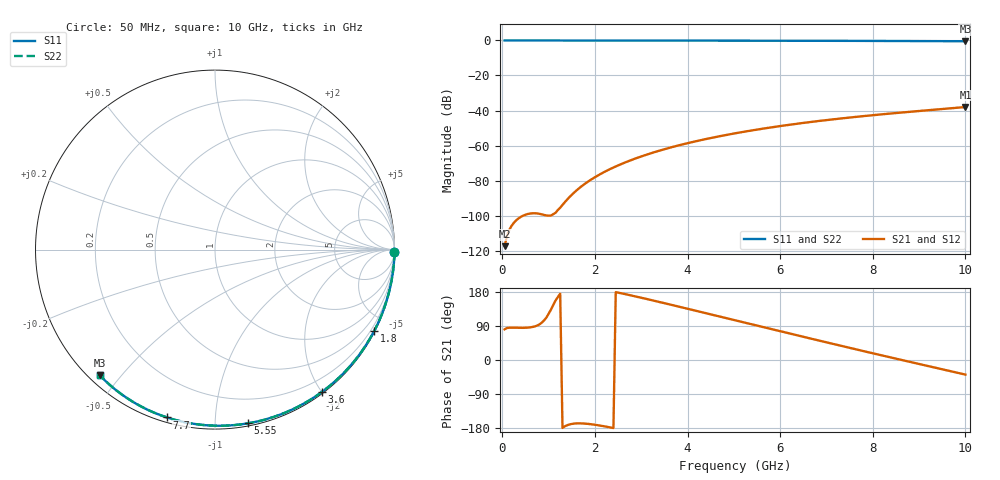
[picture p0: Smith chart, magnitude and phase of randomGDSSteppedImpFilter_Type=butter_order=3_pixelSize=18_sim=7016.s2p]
! freq	dB(S11)	phase(S11)	dB(S12)	phase(S12)
!  dB(S21)	phase(S21)	dB(S22)	phase(S22)
!S-par simulation data
#  GHz  S  DB  R 50
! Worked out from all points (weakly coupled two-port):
!   200 points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, 50 MHz to 10 GHz, reference 50 ohm
!   highest |S21| = -38.02 dB at 10 GHz (marker M1); lowest = -117.5 dB at 50 MHz (marker M2)
!   lowest |S11| = -0.4 dB at 10 GHz (marker M3), VSWR 39.02, Z = 1.53 - j21.9 ohm
!   |S11| at or under -10 dB: nowhere
!   |S22| runs from -0.4 to 0.0 dB; largest |S21 - S12| = 0
!   S11 on the Smith chart (normalised r, x): 50 MHz: open; 1.8 GHz: 0.04, -4.14; 3.6 GHz: 0.02, -2.00; 5.55 GHz: 0.02, -1.21; 7.7 GHz: 0.02, -0.75; 10 GHz: 0.03, -0.44
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0.05  -0.00 -0.8  -117.47 80.8  -117.47 80.8  -0.00 -0.8
0.45  -0.01 -6.9  -100.05 84.9  -100.05 84.9  -0.01 -6.9
0.9  -0.02 -13.7  -99.63 104.4  -99.63 104.4  -0.02 -13.7
1.75  -0.03 -26.4  -82.51 -167.6  -82.51 -167.6  -0.03 -26.4
1.8  -0.03 -27.2  -81.54 -168.0  -81.54 -168.0  -0.03 -27.2
1.9  -0.04 -28.6  -79.75 -169.2  -79.75 -169.2  -0.04 -28.6
2.05  -0.04 -30.9  -77.32 -171.8  -77.32 -171.8  -0.04 -30.9
2.25  -0.04 -33.8  -74.46 -176.1  -74.46 -176.1  -0.04 -33.8
2.45  -0.05 -36.7  -71.94 179.1  -71.94 179.1  -0.05 -36.7
2.65  -0.05 -39.6  -69.69 173.9  -69.69 173.9  -0.05 -39.6
3  -0.06 -44.6  -66.24 164.3  -66.24 164.3  -0.06 -44.6
3.4  -0.07 -50.3  -62.87 152.9  -62.87 152.9  -0.07 -50.3
3.6  -0.07 -53.1  -61.37 147.1  -61.37 147.1  -0.07 -53.1
4.3  -0.09 -62.8  -56.85 126.4  -56.85 126.4  -0.09 -62.8
5.05  -0.11 -72.8  -52.92 104.1  -52.92 104.1  -0.11 -72.8
5.55  -0.13 -79.3  -50.69 89.3  -50.69 89.3  -0.13 -79.3
6.1  -0.15 -86.3  -48.51 73.0  -48.51 73.0  -0.15 -86.3
6.7  -0.18 -93.8  -46.42 55.4  -46.42 55.4  -0.18 -93.8
7.7  -0.24 -105.9  -43.46 26.3  -43.46 26.3  -0.24 -105.9
8.35  -0.29 -113.6  -41.80 7.8  -41.80 7.8  -0.29 -113.6
9.15  -0.36 -122.9  -39.94 -14.7  -39.94 -14.7  -0.36 -122.9
10  -0.45 -132.6  -38.02 -38.5  -38.02 -38.5  -0.45 -132.6
